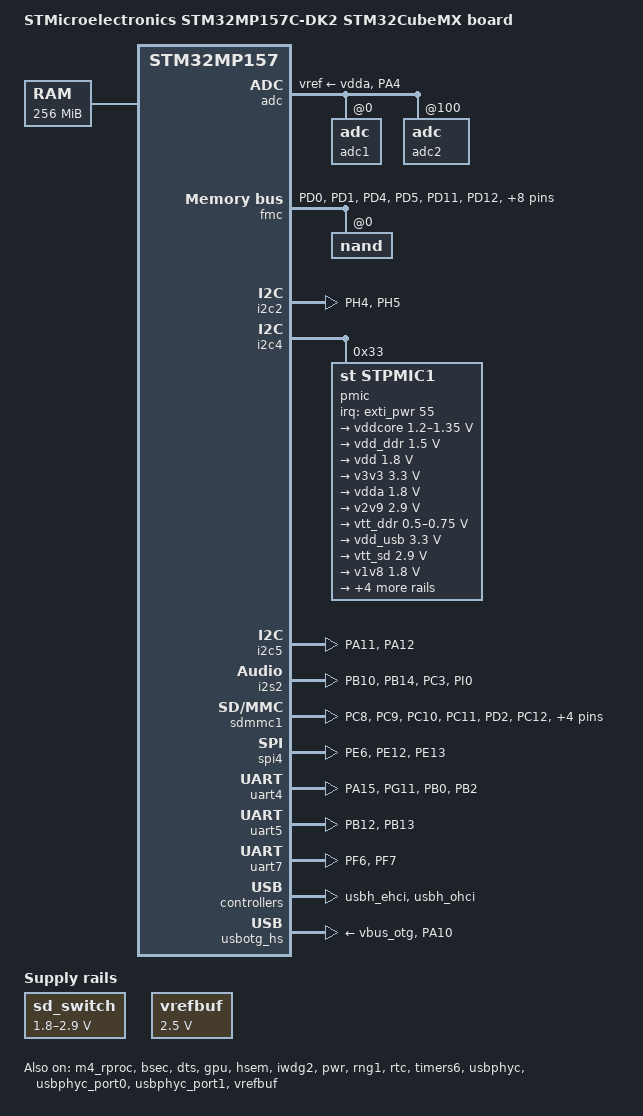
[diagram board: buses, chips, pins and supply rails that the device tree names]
/* SPDX-License-Identifier: (GPL-2.0+ OR BSD-3-Clause) */
/*
 * Copyright (C) STMicroelectronics 2019 - All Rights Reserved
 * Author: STM32CubeMX code generation for STMicroelectronics.
 */

/dts-v1/;
#include "stm32mp157c.dtsi"
#include "stm32mp157c-m4-srm.dtsi"
#include "stm32mp157cac-pinctrl.dtsi"

/* USER CODE BEGIN includes */
#include <dt-bindings/gpio/gpio.h>
#include <dt-bindings/input/input.h>
#include <dt-bindings/mfd/st,stpmic1.h>
#include <dt-bindings/rtc/rtc-stm32.h>
/* USER CODE END includes */

/ {
	model = "STMicroelectronics STM32MP157C-DK2 STM32CubeMX board";
	compatible = "st,stm32mp157c-stinger96-mx", "st,stm32mp157";

	memory@c0000000 {
		reg = <0xc0000000 0x10000000>;

		/* USER CODE BEGIN memory */
		/* USER CODE END memory */
	};

	reserved-memory {
		#address-cells = <1>;
		#size-cells = <1>;
		ranges;

		/* USER CODE BEGIN reserved-memory */

		retram: retram@0x38000000 {
			compatible = "shared-dma-pool";
			reg = <0x38000000 0x10000>;
			no-map;
		};

		mcuram: mcuram@0x30000000 {
			compatible = "shared-dma-pool";
			reg = <0x30000000 0x40000>;
			no-map;
		};

		mcuram2: mcuram2@0x10000000 {
			compatible = "shared-dma-pool";
			reg = <0x10000000 0x40000>;
			no-map;
		};

		vdev0vring0: vdev0vring0@10040000 {
			compatible = "shared-dma-pool";
			reg = <0x10040000 0x2000>;
			no-map;
		};

		vdev0vring1: vdev0vring1@10042000 {
			compatible = "shared-dma-pool";
			reg = <0x10042000 0x2000>;
			no-map;
		};

		vdev0buffer: vdev0buffer@10044000 {
			compatible = "shared-dma-pool";
			reg = <0x10044000 0x4000>;
			no-map;
		};
		/* USER CODE END reserved-memory */

		gpu_reserved: gpu@ce000000 {
			reg = <0xce000000 0x2000000>;
			no-map;
		};
	};

	/* USER CODE BEGIN root */
	aliases {
		serial4 = &uart4;
		serial7 = &uart7;
		serial5 = &uart5;

		i2c2 = &i2c2;
		i2c4 = &i2c4;
		i2c5 = &i2c5;
		mmc0 = &sdmmc1;

		i2s2=&i2s2;

	};

	chosen {
		stdout-path = "serial7:115200n8";
	};

	sram: sram@10050000 {
		compatible = "mmio-sram";
		reg = <0x10050000 0x10000>;
		#address-cells = <1>;
		#size-cells = <1>;
		ranges = <0 0x10050000 0x10000>;

		dma_pool: dma_pool@0 {
			reg = <0x0 0x10000>;
			pool;
		};
	};

	sd_switch: regulator-sd_switch {
		compatible = "regulator-gpio";
		regulator-name = "sd_switch";
		regulator-min-microvolt = <1800000>;
		regulator-max-microvolt = <2900000>;
		regulator-type = "voltage";
		regulator-always-on;

		gpios = <&gpioa 8 GPIO_ACTIVE_HIGH>;
		gpios-states = <0>;
		states = <1800000 0x1 2900000 0x0>;
	};

/*
	leds {
		compatible = "gpio-leds";
		usr-led1 {
			label = "USER_LED1";
			gpios = <&gpioh 2 GPIO_ACTIVE_HIGH>;
			linux,default-trigger = "heartbeat";
			default-state = "on";
		};

		usr-led2 {
			label = "USER_LED2";
			gpios = <&gpioh 3 GPIO_ACTIVE_LOW>;
			linux,default-trigger = "default-on";
			default-state = "on";
		};


		usr-led3 {
			label = "USER_LED3";
			gpios = <&gpiof 11 GPIO_ACTIVE_HIGH>;
			
			default-state = "on";
		};


		usr-led4 {
			label = "USER_LED4";
			gpios = <&gpiof 12 GPIO_ACTIVE_HIGH>;
			
			default-state = "on";
		};
	};
*/
	/*
	sound {
		compatible = "audio-graph-card";
		dais = <&i2s2_port>;
		label = "Stinger96-I2S2";
		status = "okay";

		routing =
			"Playback" , "MCLK",
			"Capture" , "MCLK",
			"MICL" , "Mic Bias";
		

	};

	audio-codec {
		codec_port: port@0 {
			codec_endpoint: endpoint {
				remote-endpoint = <&cpu_endpoint>;
			};
		};
	};
*/	

	usb_phy_tuning: usb-phy-tuning {
		st,hs-dc-level = <2>;
		st,fs-rftime-tuning;
		st,hs-rftime-reduction;
		st,hs-current-trim = <15>;
		st,hs-impedance-trim = <1>;
		st,squelch-level = <3>;
		st,hs-rx-offset = <2>;
		st,no-lsfs-sc;		

		/*st,hs-dc-level = <0x02>;
		st,no-hs-ftime-ctrl;
		st,hs-rftime-reduction;
		st,current-boost = <0x02>;
		st,no-lsfs-fb-cap;
		st,hs-current-trim = <0x05>;
		st,hs-impedance-trim = <0x00>;
		st,squelch-level = <0x01>;
		st,hs-tx-staggering;*/		

	};

	/* USER CODE END root */

	clocks {
		/* USER CODE BEGIN clocks */
		/* USER CODE END clocks */

		clk_lsi: clk-lsi {
			clock-frequency = <32000>;
		};

		clk_hsi: clk-hsi {
			clock-frequency = <64000000>;
		};

		clk_lse: clk-lse {
			clock-frequency = <32768>;
		};

		clk_hse: clk-hse {
			clock-frequency = <24000000>;
		};
	};

}; /*root*/

&pinctrl {
	u-boot,dm-pre-reloc;
	adc_pins_mx: adc_mx-0 {
		pins {
			pinmux = <STM32_PINMUX('A', 4, ANALOG)>; /* ADC2_INP18 */
		};
	};
	adc_sleep_pins_mx: adc_sleep_mx-0 {
		pins {
			pinmux = <STM32_PINMUX('A', 4, ANALOG)>; /* ADC2_INP18 */
		};
	};
	fmc_pins_mx: fmc_mx-0 {
		u-boot,dm-pre-reloc;
		pins1 {
			u-boot,dm-pre-reloc;
			pinmux = <STM32_PINMUX('D', 0, AF12)>, /* FMC_D2 */
					 <STM32_PINMUX('D', 1, AF12)>, /* FMC_D3 */
					 <STM32_PINMUX('D', 4, AF12)>, /* FMC_NOE */
					 <STM32_PINMUX('D', 5, AF12)>, /* FMC_NWE */
					 <STM32_PINMUX('D', 11, AF12)>, /* FMC_CLE */
					 <STM32_PINMUX('D', 12, AF12)>, /* FMC_ALE */
					 <STM32_PINMUX('D', 14, AF12)>, /* FMC_D0 */
					 <STM32_PINMUX('D', 15, AF12)>, /* FMC_D1 */
					 <STM32_PINMUX('E', 7, AF12)>, /* FMC_D4 */
					 <STM32_PINMUX('E', 8, AF12)>, /* FMC_D5 */
					 <STM32_PINMUX('E', 9, AF12)>, /* FMC_D6 */
					 <STM32_PINMUX('E', 10, AF12)>, /* FMC_D7 */
					 <STM32_PINMUX('G', 9, AF12)>; /* FMC_NCE */
			bias-disable;
			drive-push-pull;
			slew-rate = <1>;
		};
		pins2 {
			u-boot,dm-pre-reloc;
			pinmux = <STM32_PINMUX('D', 6, AF12)>; /* FMC_NWAIT */
			bias-pull-up;
		};
	};
	fmc_sleep_pins_mx: fmc_sleep_mx-0 {
		u-boot,dm-pre-reloc;
		pins {
			u-boot,dm-pre-reloc;
			pinmux = <STM32_PINMUX('D', 0, ANALOG)>, /* FMC_D2 */
					 <STM32_PINMUX('D', 1, ANALOG)>, /* FMC_D3 */
					 <STM32_PINMUX('D', 4, ANALOG)>, /* FMC_NOE */
					 <STM32_PINMUX('D', 5, ANALOG)>, /* FMC_NWE */
					 <STM32_PINMUX('D', 6, ANALOG)>, /* FMC_NWAIT */
					 <STM32_PINMUX('D', 11, ANALOG)>, /* FMC_CLE */
					 <STM32_PINMUX('D', 12, ANALOG)>, /* FMC_ALE */
					 <STM32_PINMUX('D', 14, ANALOG)>, /* FMC_D0 */
					 <STM32_PINMUX('D', 15, ANALOG)>, /* FMC_D1 */
					 <STM32_PINMUX('E', 7, ANALOG)>, /* FMC_D4 */
					 <STM32_PINMUX('E', 8, ANALOG)>, /* FMC_D5 */
					 <STM32_PINMUX('E', 9, ANALOG)>, /* FMC_D6 */
					 <STM32_PINMUX('E', 10, ANALOG)>, /* FMC_D7 */
					 <STM32_PINMUX('G', 9, ANALOG)>; /* FMC_NCE */
		};
	};
	i2c2_pins_mx: i2c2_mx-0 {
		pins {
			pinmux = <STM32_PINMUX('H', 4, AF4)>, /* I2C2_SCL */
					 <STM32_PINMUX('H', 5, AF4)>; /* I2C2_SDA */
			bias-disable;
			drive-open-drain;
			slew-rate = <0>;
		};
	};
	i2c2_sleep_pins_mx: i2c2_sleep_mx-0 {
		pins {
			pinmux = <STM32_PINMUX('H', 4, ANALOG)>, /* I2C2_SCL */
					 <STM32_PINMUX('H', 5, ANALOG)>; /* I2C2_SDA */
		};
	};
	i2c5_pins_mx: i2c5_mx-0 {
		pins {
			pinmux = <STM32_PINMUX('A', 11, AF4)>, /* I2C5_SCL */
					 <STM32_PINMUX('A', 12, AF4)>; /* I2C5_SDA */
			bias-disable;
			drive-open-drain;
			slew-rate = <0>;
		};
	};
	i2c5_sleep_pins_mx: i2c5_sleep_mx-0 {
		pins {
			pinmux = <STM32_PINMUX('A', 11, ANALOG)>, /* I2C5_SCL */
					 <STM32_PINMUX('A', 12, ANALOG)>; /* I2C5_SDA */
		};
	};
	i2s2_pins_mx: i2s2_mx-0 {
		pins {
			pinmux = <STM32_PINMUX('B', 10, AF5)>, /* I2S2_CK */
					 <STM32_PINMUX('B', 14, AF5)>, /* I2S2_SDI */
					 <STM32_PINMUX('C', 3, AF5)>, /* I2S2_SDO */
					 <STM32_PINMUX('I', 0, AF5)>; /* I2S2_WS */
			bias-disable;
			drive-push-pull;
			slew-rate = <1>;
		};
	};
	i2s2_sleep_pins_mx: i2s2_sleep_mx-0 {
		pins {
			pinmux = <STM32_PINMUX('B', 10, ANALOG)>, /* I2S2_CK */
					 <STM32_PINMUX('B', 14, ANALOG)>, /* I2S2_SDI */
					 <STM32_PINMUX('C', 3, ANALOG)>, /* I2S2_SDO */
					 <STM32_PINMUX('I', 0, ANALOG)>; /* I2S2_WS */
		};
	};
	sdmmc1_b4_pins_a: sdmmc1-b4-0 {
 		pins1 {
 			pinmux = <STM32_PINMUX('C', 8, AF12)>, /* SDMMC1_D0 */
				 	 <STM32_PINMUX('C', 9, AF12)>, /* SDMMC1_D1 */
					 <STM32_PINMUX('C', 10, AF12)>, /* SDMMC1_D2 */
					 <STM32_PINMUX('C', 11, AF12)>, /* SDMMC1_D3 */
					 <STM32_PINMUX('D', 2, AF12)>; /* SDMMC1_CMD */
			slew-rate = <1>;
			drive-push-pull;
 			bias-disable;
		};
		pins2 {
			pinmux = <STM32_PINMUX('C', 12, AF12)>; /* SDMMC1_CK */
			slew-rate = <2>;
 			drive-push-pull;
			bias-disable;
		};
	};

	sdmmc1_b4_od_pins_a: sdmmc1-b4-od-0 {
		pins1 {
			pinmux = <STM32_PINMUX('C', 8, AF12)>, /* SDMMC1_D0 */
					 <STM32_PINMUX('C', 9, AF12)>, /* SDMMC1_D1 */
					 <STM32_PINMUX('C', 10, AF12)>, /* SDMMC1_D2 */
					 <STM32_PINMUX('C', 11, AF12)>; /* SDMMC1_D3 */
 			slew-rate = <1>;
			drive-push-pull;
			bias-disable;
 		};
 		pins2 {
 			pinmux = <STM32_PINMUX('C', 12, AF12)>; /* SDMMC1_CK */
			slew-rate = <2>;
 			drive-push-pull;
			bias-disable;
		};
		pins3 {
			pinmux = <STM32_PINMUX('D', 2, AF12)>; /* SDMMC1_CMD */
			slew-rate = <1>;
			drive-open-drain;
			bias-disable;
		};
	};

	sdmmc1_dir_pins_a: sdmmc1-dir-0 {
		pins1 {
			pinmux = <STM32_PINMUX('F', 2, AF11)>, /* SDMMC1_D0DIR */
				 	 <STM32_PINMUX('E', 14, AF11)>, /* SDMMC1_D123DIR */
				 	 <STM32_PINMUX('B', 9, AF11)>; /* SDMMC1_CDIR */
 			slew-rate = <3>;
			drive-push-pull;
			bias-pull-up;
		};
		pins2{
			pinmux = <STM32_PINMUX('E', 4, AF8)>; /* SDMMC1_CKIN */
			bias-pull-up;
 		};
 	};

	sdmmc1_b4_sleep_pins_a: sdmmc1-b4-sleep-0 {
 		pins {
 			pinmux = <STM32_PINMUX('C', 8, ANALOG)>, /* SDMMC1_D0 */
					 <STM32_PINMUX('C', 9, ANALOG)>, /* SDMMC1_D1 */
					 <STM32_PINMUX('C', 10, ANALOG)>, /* SDMMC1_D2 */
					 <STM32_PINMUX('C', 11, ANALOG)>, /* SDMMC1_D3 */
					 <STM32_PINMUX('C', 12, ANALOG)>, /* SDMMC1_CK */
					 <STM32_PINMUX('D', 2, ANALOG)>; /* SDMMC1_CMD */
 		};
 	};
	spi4_pins_mx: spi4_mx-0 {
		pins {
			pinmux = <STM32_PINMUX('E', 6, AF5)>, /* SPI4_MOSI */
					 <STM32_PINMUX('E', 12, AF5)>, /* SPI4_SCK */
					 <STM32_PINMUX('E', 13, AF5)>; /* SPI4_MISO */
			bias-disable;
			drive-push-pull;
			slew-rate = <1>;
		};
	};
	spi4_sleep_pins_mx: spi4_sleep_mx-0 {
		pins {
			pinmux = <STM32_PINMUX('E', 6, ANALOG)>, /* SPI4_MOSI */
					 <STM32_PINMUX('E', 12, ANALOG)>, /* SPI4_SCK */
					 <STM32_PINMUX('E', 13, ANALOG)>; /* SPI4_MISO */
		};
	};
	uart4_pins_mx: uart4_mx-0 {
		u-boot,dm-pre-reloc;
		pins1 {
			u-boot,dm-pre-reloc;
			pinmux = <STM32_PINMUX('A', 15, AF8)>, /* UART4_RTS */
					 <STM32_PINMUX('G', 11, AF6)>; /* UART4_TX */
			bias-disable;
			drive-push-pull;
			slew-rate = <0>;
		};
		pins2 {
			u-boot,dm-pre-reloc;
			pinmux = <STM32_PINMUX('B', 0, AF8)>, /* UART4_CTS */
					 <STM32_PINMUX('B', 2, AF8)>; /* UART4_RX */
			bias-disable;
		};
	};
	uart4_sleep_pins_mx: uart4_sleep_mx-0 {
		u-boot,dm-pre-reloc;
		pins {
			u-boot,dm-pre-reloc;
			pinmux = <STM32_PINMUX('A', 15, ANALOG)>, /* UART4_RTS */
					 <STM32_PINMUX('B', 0, ANALOG)>, /* UART4_CTS */
					 <STM32_PINMUX('B', 2, ANALOG)>, /* UART4_RX */
					 <STM32_PINMUX('G', 11, ANALOG)>; /* UART4_TX */
		};
	};
	uart5_pins_mx: uart5_mx-0 {
		pins1 {
			pinmux = <STM32_PINMUX('B', 12, AF14)>; /* UART5_RX */
			bias-disable;
		};
		pins2 {
			pinmux = <STM32_PINMUX('B', 13, AF14)>; /* UART5_TX */
			bias-disable;
			drive-push-pull;
			slew-rate = <0>;
		};
	};
	uart5_sleep_pins_mx: uart5_sleep_mx-0 {
		pins {
			pinmux = <STM32_PINMUX('B', 12, ANALOG)>, /* UART5_RX */
					 <STM32_PINMUX('B', 13, ANALOG)>; /* UART5_TX */
		};
	};
	uart7_pins_mx: uart7_mx-0 {
		u-boot,dm-pre-reloc;
		pins1 {
			u-boot,dm-pre-reloc;
			pinmux = <STM32_PINMUX('F', 6, AF7)>; /* UART7_RX */
			bias-disable;
		};
		pins2 {
			u-boot,dm-pre-reloc;
			pinmux = <STM32_PINMUX('F', 7, AF7)>; /* UART7_TX */
			bias-disable;
			drive-push-pull;
			slew-rate = <0>;
		};
	};
	uart7_sleep_pins_mx: uart7_sleep_mx-0 {
		u-boot,dm-pre-reloc;
		pins {
			u-boot,dm-pre-reloc;
			pinmux = <STM32_PINMUX('F', 6, ANALOG)>, /* UART7_RX */
					 <STM32_PINMUX('F', 7, ANALOG)>; /* UART7_TX */
		};
	};
	usb_otg_hs_pins_mx: usb_otg_hs_mx-0 {
		pins {
			pinmux = <STM32_PINMUX('A', 10, ANALOG)>; /* USB_OTG_HS_ID */
		};
	};
	usb_otg_hs_sleep_pins_mx: usb_otg_hs_sleep_mx-0 {
		pins {
			pinmux = <STM32_PINMUX('A', 10, ANALOG)>; /* USB_OTG_HS_ID */
		};
	};
};

&pinctrl_z {
	u-boot,dm-pre-reloc;
	i2c4_pins_z_mx: i2c4_mx-0 {
		u-boot,dm-pre-reloc;
		pins {
			u-boot,dm-pre-reloc;
			pinmux = <STM32_PINMUX('Z', 4, AF6)>, /* I2C4_SCL */
					 <STM32_PINMUX('Z', 5, AF6)>; /* I2C4_SDA */
			bias-disable;
			drive-open-drain;
			slew-rate = <0>;
		};
	};
	i2c4_sleep_pins_z_mx: i2c4_sleep_mx-0 {
		u-boot,dm-pre-reloc;
		pins {
			u-boot,dm-pre-reloc;
			pinmux = <STM32_PINMUX('Z', 4, ANALOG)>, /* I2C4_SCL */
					 <STM32_PINMUX('Z', 5, ANALOG)>; /* I2C4_SDA */
		};
	};
};

&m4_rproc{
	/*Restriction: "memory-region" property is not managed - please to use User-Section if needed*/
	mboxes = <&ipcc 0>, <&ipcc 1>, <&ipcc 2>;
	mbox-names = "vq0", "vq1", "shutdown";
	recovery;
	status = "okay";

	/* USER CODE BEGIN m4_rproc */
	interrupt-parent = <&exti>;
	interrupts = <68 1>;
	interrupt-names = "wdg";

	m4_system_resources {
		status = "okay";
	};
	/* USER CODE END m4_rproc */
};

&adc{
	pinctrl-names = "default", "sleep";
	pinctrl-0 = <&adc_pins_mx>;
	pinctrl-1 = <&adc_sleep_pins_mx>;
	status = "okay";

	/* USER CODE BEGIN adc */
	vdd-supply = <&vdd>;
	vdda-supply = <&vdd>;
	vref-supply = <&vdda>;
	adc1: adc@0 {
		/*
		 * Type-C USB_PWR_CC1 & USB_PWR_CC2 on in18 & in19.
		 * Use at least 5 * RC time, e.g. 5 * (Rp + Rd) * C:
		 * 5 * (56 + 47kOhms) * 5pF => 2.5us.
		 * Use arbitrary margin here (e.g. 5µs).
		 */
		st,min-sample-time-nsecs = <5000>;
		/* ANA0, ANA1 */
		st,adc-channels = <0 1>;
		status = "okay";
	};
	adc2: adc@100 {
		/* ANA0, ANA1, temp sensor */
		st,adc-channels = <0 1 12>;
		/* temperature sensor min sample time */
		st,min-sample-time-nsecs = <10000>;
		status = "okay";
	};
	temp {
		status = "okay";
	};
	/* USER CODE END adc */
};

&bsec{
	status = "okay";

	/* USER CODE BEGIN bsec */
	/* USER CODE END bsec */
};

&dts{
	status = "okay";

	/* USER CODE BEGIN dts */
	/* USER CODE END dts */
};

&fmc{
	u-boot,dm-pre-reloc;
	pinctrl-names = "default", "sleep";
	pinctrl-0 = <&fmc_pins_mx>;
	pinctrl-1 = <&fmc_sleep_pins_mx>;
	status = "okay";

	/* USER CODE BEGIN fmc */
	#address-cells = <0x01>;
	#size-cells = <0x00>;
	
	nand: nand@0 {
		reg = <0>;                                      
		nand-on-flash-bbt;    
		/*nand-ecc-strength = <8>;                 
		nand-ecc-step-size = <512>;*/       
		#address-cells = <1>;
		#size-cells = <1>;

		/*
		partition@0 {
			label = "nand-boot";
			reg = <0x0 0x1400000>;
		};

		partition@1400000 {
			label = "nand-fs";
			reg = <0x1400000 0x6400000>;
		};*/


       };
	/* USER CODE END fmc */
};

&gpu{
	status = "okay";

	/* USER CODE BEGIN gpu */
	contiguous-area = <&gpu_reserved>;
	/* USER CODE END gpu */
};

&hsem{
	status = "okay";

	/* USER CODE BEGIN hsem */
	/* USER CODE END hsem */
};

&i2c2{
	pinctrl-names = "default", "sleep";
	pinctrl-0 = <&i2c2_pins_mx>;
	pinctrl-1 = <&i2c2_sleep_pins_mx>;
	status = "okay";

	/* USER CODE BEGIN i2c2 */
	/* USER CODE END i2c2 */
};

&i2c4{
	u-boot,dm-pre-reloc;
	pinctrl-names = "default", "sleep";
	pinctrl-0 = <&i2c4_pins_z_mx>;
	pinctrl-1 = <&i2c4_sleep_pins_z_mx>;
	status = "okay";

	/* USER CODE BEGIN i2c4 */
	i2c-scl-rising-time-ns = <185>;
	i2c-scl-falling-time-ns = <20>;
	/delete-property/dmas;
	/delete-property/dma-names;

	pmic: stpmic@33 {
		compatible = "st,stpmic1";
		reg = <0x33>;
		interrupts-extended = <&exti_pwr 55 IRQ_TYPE_EDGE_FALLING>;
		interrupt-controller;
		#interrupt-cells = <2>;
		status = "okay";

		st,main-control-register = <0x04>;
		st,vin-control-register = <0xc0>;
		st,usb-control-register = <0x20>;

		regulators {
			compatible = "st,stpmic1-regulators";

			ldo1-supply = <&v3v3>;
			ldo2-supply = <&v3v3>;
			ldo3-supply = <&vdd_ddr>;
			ldo5-supply = <&v3v3>;
			ldo6-supply = <&v3v3>;
			pwr_sw1-supply = <&bst_out>;
			pwr_sw2-supply = <&bst_out>;

			vddcore: buck1 {
				regulator-name = "vddcore";
				regulator-min-microvolt = <1200000>; 
				regulator-max-microvolt = <1350000>; 
				regulator-always-on;
				regulator-initial-mode = <0>;
				regulator-over-current-protection;
			};

			vdd_ddr: buck2 {
				regulator-name = "vdd_ddr";
				regulator-min-microvolt = <1500000>;
				regulator-max-microvolt = <1500000>;
				regulator-always-on;
				regulator-initial-mode = <0>;
				regulator-over-current-protection;
			};

			vdd: buck3 {
				regulator-name = "vdd";
				regulator-min-microvolt = <1800000>; 
				regulator-max-microvolt = <1800000>; 
				regulator-always-on;
				st,mask-reset;
				regulator-initial-mode = <0>;
				regulator-over-current-protection;
			};

			v3v3: buck4 {
				regulator-name = "v3v3";
				regulator-min-microvolt = <3300000>;
				regulator-max-microvolt = <3300000>;
				regulator-always-on;
				regulator-over-current-protection;
				regulator-initial-mode = <0>;
			};

			vdda: ldo1 {	
				regulator-name = "vdda"; 
				regulator-min-microvolt = <1800000>; 
				regulator-max-microvolt = <1800000>; 
				regulator-always-on;
				interrupts = <IT_CURLIM_LDO1 0>;

			};

			v2v9: ldo2 {	
				regulator-name = "v2v9";
				regulator-min-microvolt = <2900000>;  
				regulator-max-microvolt = <2900000>; 
				regulator-always-on;
				interrupts = <IT_CURLIM_LDO2 0>;

			};

			vtt_ddr: ldo3 {
				regulator-name = "vtt_ddr";
				regulator-min-microvolt = <500000>; 
				regulator-max-microvolt = <750000>; 
				regulator-always-on;
				regulator-over-current-protection;
			};

			vdd_usb: ldo4 {
				regulator-name = "vdd_usb";
				regulator-min-microvolt = <3300000>;
				regulator-max-microvolt = <3300000>;
				interrupts = <IT_CURLIM_LDO4 0>;
			};

			vtt_sd: ldo5 { 
				regulator-name = "vtt_sd";
				regulator-min-microvolt = <2900000>;
				regulator-max-microvolt = <2900000>;
				interrupts = <IT_CURLIM_LDO5 0>;
				regulator-boot-on;
			};

			v1v8: ldo6 { 
				regulator-name = "v1v8";
				regulator-min-microvolt = <1800000>; 
				regulator-max-microvolt = <1800000>; 
				regulator-always-on;
				interrupts = <IT_CURLIM_LDO6 0>;

			};

			vref_ddr: vref_ddr {
				regulator-name = "vref_ddr";
				regulator-always-on;
				regulator-over-current-protection;
			};

			 bst_out: boost {
				regulator-name = "bst_out";
				interrupts = <IT_OCP_BOOST 0>;
			 };

			vbus_otg: pwr_sw1 {
				regulator-name = "vbus_otg";
				interrupts = <IT_OCP_OTG 0>;
				regulator-active-discharge;
			 };

			 vbus_sw: pwr_sw2 {
				regulator-name = "vbus_sw";
				interrupts = <IT_OCP_SWOUT 0>;
				regulator-active-discharge;
			 };
		};

		onkey {
			compatible = "st,stpmic1-onkey";
			interrupts = <IT_PONKEY_F 0>, <IT_PONKEY_R 1>;
			interrupt-names = "onkey-falling", "onkey-rising";
			status = "okay";
		};

		watchdog {
			compatible = "st,stpmic1-wdt";
			status = "disabled";
		};
	};
	/* USER CODE END i2c4 */
};

&i2c5{
	pinctrl-names = "default", "sleep";
	pinctrl-0 = <&i2c5_pins_mx>;
	pinctrl-1 = <&i2c5_sleep_pins_mx>;
	status = "okay";

	/* USER CODE BEGIN i2c5 */
	/* USER CODE END i2c5 */
};

&i2s2{
	pinctrl-names = "default", "sleep";
	pinctrl-0 = <&i2s2_pins_mx>;
	pinctrl-1 = <&i2s2_sleep_pins_mx>;
	status = "okay";

	/* USER CODE BEGIN i2s2 */
	/* USER CODE END i2s2 */
};

&ipcc{
	status = "okay";

	/* USER CODE BEGIN ipcc */
	/* USER CODE END ipcc */
};

&iwdg2{
	status = "okay";

	/* USER CODE BEGIN iwdg2 */
	timeout-sec = <32>;
	/* USER CODE END iwdg2 */
};

&pwr{
	status = "okay";

	/* USER CODE BEGIN pwr */
	pwr-supply = <&vdd>;
	/* USER CODE END pwr */
};

&rcc{
	u-boot,dm-pre-reloc;
	status = "okay";

	/* USER CODE BEGIN rcc */
	/* USER CODE END rcc */
};

&rng1{
	status = "okay";

	/* USER CODE BEGIN rng1 */
	/* USER CODE END rng1 */
};

&rtc{
	status = "okay";

	/* USER CODE BEGIN rtc */
	st,lsco = <RTC_OUT2_RMP>;
	/* USER CODE END rtc */
};

&sdmmc1{
	pinctrl-names = "default", "opendrain", "sleep";
	pinctrl-0 = <&sdmmc1_b4_pins_a &sdmmc1_dir_pins_a>;
	pinctrl-1 = <&sdmmc1_b4_od_pins_a &sdmmc1_dir_pins_a>;
	pinctrl-2 = <&sdmmc1_b4_sleep_pins_a &sdmmc1_dir_sleep_pins_a>;
 	status = "okay";
 	broken-cd;
	st,sig-dir;
 	st,neg-edge;
	st,use-ckin;
	vqmmc-supply = <&sd_switch>;
	sd-uhs-sdr12;
	sd-uhs-sdr25;
	sd-uhs-sdr50;
	sd-uhs-ddr50;
	sd-uhs-sdr104;
};

/*&spi4 {
	pinctrl-names = "default", "sleep";
	pinctrl-0 = <&spi4_pins_a>;
	pinctrl-1 = <&spi4_sleep_pins_a>;
	status = "okay";
	cs-gpios = <&gpioe 11 0>;

	spidev@0 {
		compatible = "spidev";
		spi-max-frequency = <500000>;
		reg = <0>;
	};
};*/

&spi4{
	pinctrl-names = "default", "sleep";
	pinctrl-0 = <&spi4_pins_mx>;
	pinctrl-1 = <&spi4_sleep_pins_mx>;
	status = "okay";

	/* USER CODE BEGIN spi4 */
	/* USER CODE END spi4 */
};

&timers6{
	status = "okay";

	/* USER CODE BEGIN timers6 */
	/* spare dmas for other usage */
	/delete-property/dmas;
	/delete-property/dma-names;
	timer@5 {
		status = "okay";
	};
	/* USER CODE END timers6 */
};

&uart4{
	u-boot,dm-pre-reloc;
	pinctrl-names = "default", "sleep";
	pinctrl-0 = <&uart4_pins_mx>;
	pinctrl-1 = <&uart4_sleep_pins_mx>;
	status = "okay";

	/* USER CODE BEGIN uart4 */
	/* USER CODE END uart4 */
};

&uart5{
	pinctrl-names = "default", "sleep";
	pinctrl-0 = <&uart5_pins_mx>;
	pinctrl-1 = <&uart5_sleep_pins_mx>;
	status = "okay";

	/* USER CODE BEGIN uart5 */
	/* USER CODE END uart5 */
};

&uart7{
	u-boot,dm-pre-reloc;
	pinctrl-names = "default", "sleep";
	pinctrl-0 = <&uart7_pins_mx>;
	pinctrl-1 = <&uart7_sleep_pins_mx>;
	status = "okay";

	/* USER CODE BEGIN uart7 */
	/* USER CODE END uart7 */
};

&usbh_ehci{
	status = "okay";

	/* USER CODE BEGIN usbh_ehci */
	/* USER CODE END usbh_ehci */
};

&usbh_ohci{
	status = "okay";

	/* USER CODE BEGIN usbh_ohci */
	/* USER CODE END usbh_ohci */
};

&usbotg_hs{
	pinctrl-names = "default", "sleep";
	pinctrl-0 = <&usb_otg_hs_pins_mx>;
	pinctrl-1 = <&usb_otg_hs_sleep_pins_mx>;
	status = "okay";

	/* USER CODE BEGIN usbotg_hs */
	/* USER CODE END usbotg_hs */
};

&usbphyc{
	status = "okay";

	/* USER CODE BEGIN usbphyc */
	/* USER CODE END usbphyc */
};

&usbphyc_port0{
	status = "okay";

	/* USER CODE BEGIN usbphyc_port0 */
	/* USER CODE END usbphyc_port0 */
};

&usbphyc_port1{
	status = "okay";

	/* USER CODE BEGIN usbphyc_port1 */
	/* USER CODE END usbphyc_port1 */
};

&vrefbuf{
	status = "okay";

	/* USER CODE BEGIN vrefbuf */
	regulator-min-microvolt = <2500000>;
	regulator-max-microvolt = <2500000>;
	vdda-supply = <&vdd>;
	/* USER CODE END vrefbuf */
};

/* USER CODE BEGIN addons */
&m4_rproc {
memory-region = <&retram>, <&mcuram>, <&mcuram2>, <&vdev0vring0>,
		<&vdev0vring1>, <&vdev0buffer>;
};


&dma1 {
	sram = <&dma_pool>;
};

&dma2 {
	sram = <&dma_pool>;
};

&usbotg_hs {
	vbus-supply = <&vbus_otg>;
};

&usbphyc {
	vdd3v3-supply = <&vdd_usb>;
};
/* USER CODE END addons */

